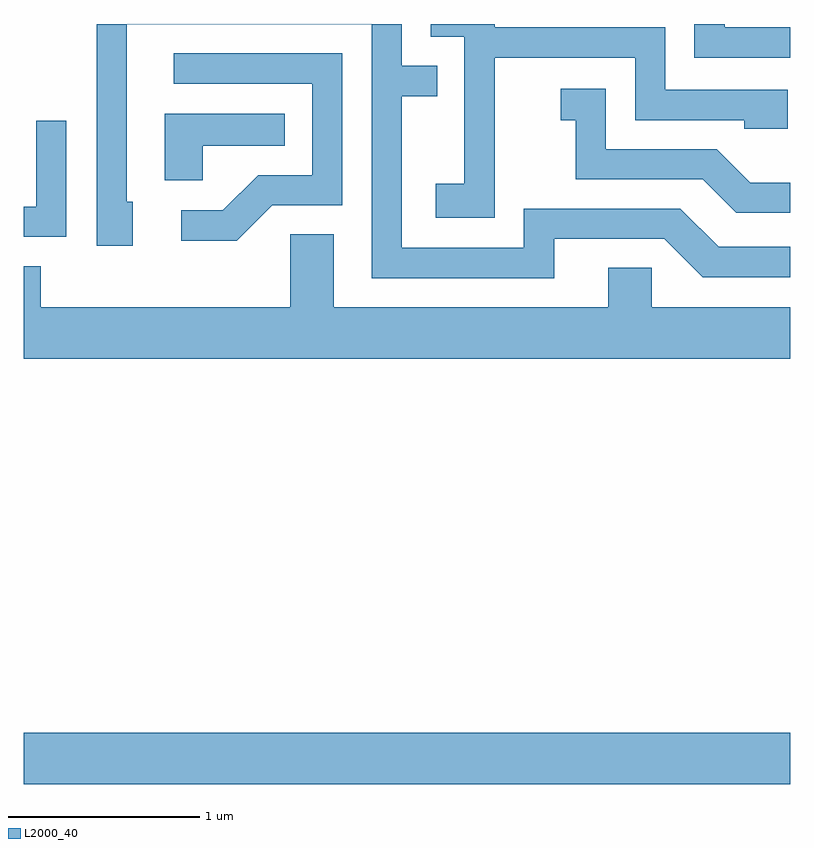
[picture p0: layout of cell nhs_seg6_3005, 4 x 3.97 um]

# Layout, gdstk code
import gdstk
lib = gdstk.Library(unit=1e-6, precision=1e-09)
def R(c, l, rs):  # rectangles x0, y0, x1, y1
    for r in rs: c.add(gdstk.rectangle(r[:2], r[2:], *l))
def P(c, l, *ps):  # polygons
    for p in ps: c.add(gdstk.Polygon(p, *l))
L2000_40 = (2000, 40)

nhs_seg6_3005 = lib.new_cell('nhs_seg6_3005')
R(nhs_seg6_3005, L2000_40, [(275.611,1612.196,279.611,1612.464)])
P(nhs_seg6_3005, L2000_40, [(279.611,1616.144),(279.269,1616.144),(279.269,1616.162),(279.111,1616.162),(279.111,1615.986),(279.611,1615.986)],
  [(278.379,1615.041),(278.954,1615.041),(279.154,1614.841),(279.611,1614.841),(279.611,1614.999),(279.237,1614.999),(279.037,1615.199),(278.221,1615.199),(278.221,1614.994),(277.584,1614.994),(277.584,1615.786),(277.768,1615.786),(277.768,1615.944),(277.584,1615.944),(277.584,1616.162),(275.991,1616.162),(275.991,1615.006),(276.179,1615.006),(276.179,1615.234),(276.149,1615.234),(276.149,1616.161),(277.426,1616.161),(277.426,1614.836),(278.379,1614.836)],
  [(278.069,1615.986),(278.801,1615.986),(278.801,1615.661),(279.371,1615.661),(279.371,1615.616),(279.599,1615.616),(279.599,1615.819),(278.959,1615.819),(278.959,1616.144),(278.069,1616.144),(278.069,1616.162),(277.736,1616.162),(277.736,1616.096),(277.911,1616.096),(277.911,1615.329),(277.761,1615.329),(277.761,1615.151),(278.069,1615.151)],
  [(276.907,1615.216),(277.274,1615.216),(277.274,1616.009),(276.393,1616.009),(276.393,1615.851),(277.116,1615.851),(277.116,1615.374),(276.834,1615.374),(276.649,1615.189),(276.433,1615.189),(276.433,1615.031),(276.722,1615.031)],
  [(279.611,1615.334),(279.402,1615.334),(279.227,1615.509),(278.649,1615.509),(278.649,1615.824),(278.413,1615.824),(278.413,1615.661),(278.491,1615.661),(278.491,1615.351),(279.154,1615.351),(279.329,1615.176),(279.611,1615.176)],
  [(276.544,1615.526),(276.973,1615.526),(276.973,1615.694),(276.346,1615.694),(276.346,1615.346),(276.544,1615.346)],
  [(275.834,1615.658),(275.676,1615.658),(275.676,1615.209),(275.611,1615.209),(275.611,1615.051),(275.834,1615.051)],
  [(279.611,1614.684),(278.889,1614.684),(278.889,1614.889),(278.661,1614.889),(278.661,1614.684),(277.229,1614.684),(277.229,1615.064),(277.001,1615.064),(277.001,1614.684),(275.699,1614.684),(275.699,1614.899),(275.611,1614.899),(275.611,1614.416),(279.611,1614.416)])

lib.write_gds('nhs_seg6_3005.gds')
